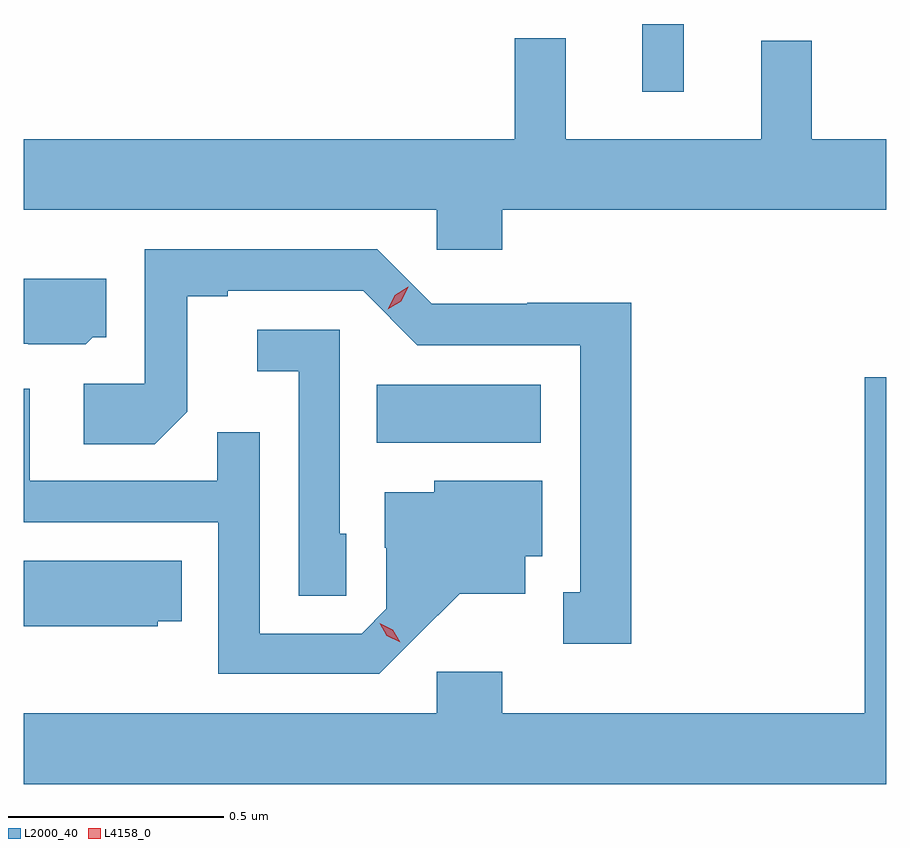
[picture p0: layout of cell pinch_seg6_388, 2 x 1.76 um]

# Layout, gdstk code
import gdstk
lib = gdstk.Library(unit=1e-6, precision=1e-09)
def R(c, l, rs):  # rectangles x0, y0, x1, y1
    for r in rs: c.add(gdstk.rectangle(r[:2], r[2:], *l))
def P(c, l, *ps):  # polygons
    for p in ps: c.add(gdstk.Polygon(p, *l))
L2000_40 = (2000, 40)
L4158_0 = (4158, 0)

pinch_seg6_388 = lib.new_cell('pinch_seg6_388')
R(pinch_seg6_388, L2000_40, [(659.29,936.14,659.671,936.274), (659.906,936.954,660.003,937.111)])
P(pinch_seg6_388, L2000_40, [(659.582,936.68),(660.472,936.68),(660.472,936.844),(660.299,936.844),(660.299,937.072),(660.182,937.072),(660.182,936.844),(659.729,936.844),(659.729,937.078),(659.611,937.078),(659.611,936.844),(658.472,936.844),(658.472,936.68),(659.43,936.68),(659.43,936.587),(659.582,936.587)],
  [(659.881,936.464),(659.64,936.464),(659.64,936.462),(659.418,936.462),(659.292,936.588),(658.752,936.588),(658.752,936.276),(658.611,936.276),(658.611,936.136),(658.775,936.136),(658.851,936.212),(658.851,936.48),(658.945,936.48),(658.945,936.492),(659.259,936.492),(659.385,936.366),(659.762,936.366),(659.762,935.793),(659.723,935.793),(659.723,935.673),(659.881,935.673)],
  [(658.632,936.384),(658.663,936.384),(658.663,936.52),(658.472,936.52),(658.472,936.369),(658.482,936.369),(658.482,936.368),(658.616,936.368)],
  [(659.22,935.928),(659.205,935.928),(659.205,936.402),(659.013,936.402),(659.013,936.305),(659.109,936.305),(659.109,935.785),(659.22,935.785)],
  [(660.472,936.292),(660.422,936.292),(660.422,935.512),(659.582,935.512),(659.582,935.608),(659.43,935.608),(659.43,935.512),(658.472,935.512),(658.472,935.348),(660.472,935.348)],
  [(659.38,935.687),(659.483,935.789),(659.635,935.789),(659.635,935.876),(659.674,935.876),(659.674,936.052),(659.424,936.052),(659.424,936.025),(659.309,936.025),(659.309,935.896),(659.313,935.896),(659.313,935.754),(659.256,935.697),(659.019,935.697),(659.019,936.164),(658.921,936.164),(658.921,936.051),(658.485,936.051),(658.485,936.265),(658.472,936.265),(658.472,935.955),(658.923,935.955),(658.923,935.604),(659.296,935.604)],
  [(658.782,935.726),(658.838,935.726),(658.838,935.866),(658.472,935.866),(658.472,935.714),(658.782,935.714)])
P(pinch_seg6_388, L4158_0, [(659.316,936.449),(659.316,936.449),(659.332,936.482),(659.364,936.501),(659.364,936.501),(659.364,936.501),(659.347,936.468),(659.316,936.449)],
  [(659.345,935.677),(659.314,935.692),(659.297,935.721),(659.297,935.721),(659.297,935.721),(659.328,935.706),(659.345,935.677),(659.345,935.677)])

lib.write_gds('pinch_seg6_388.gds')
